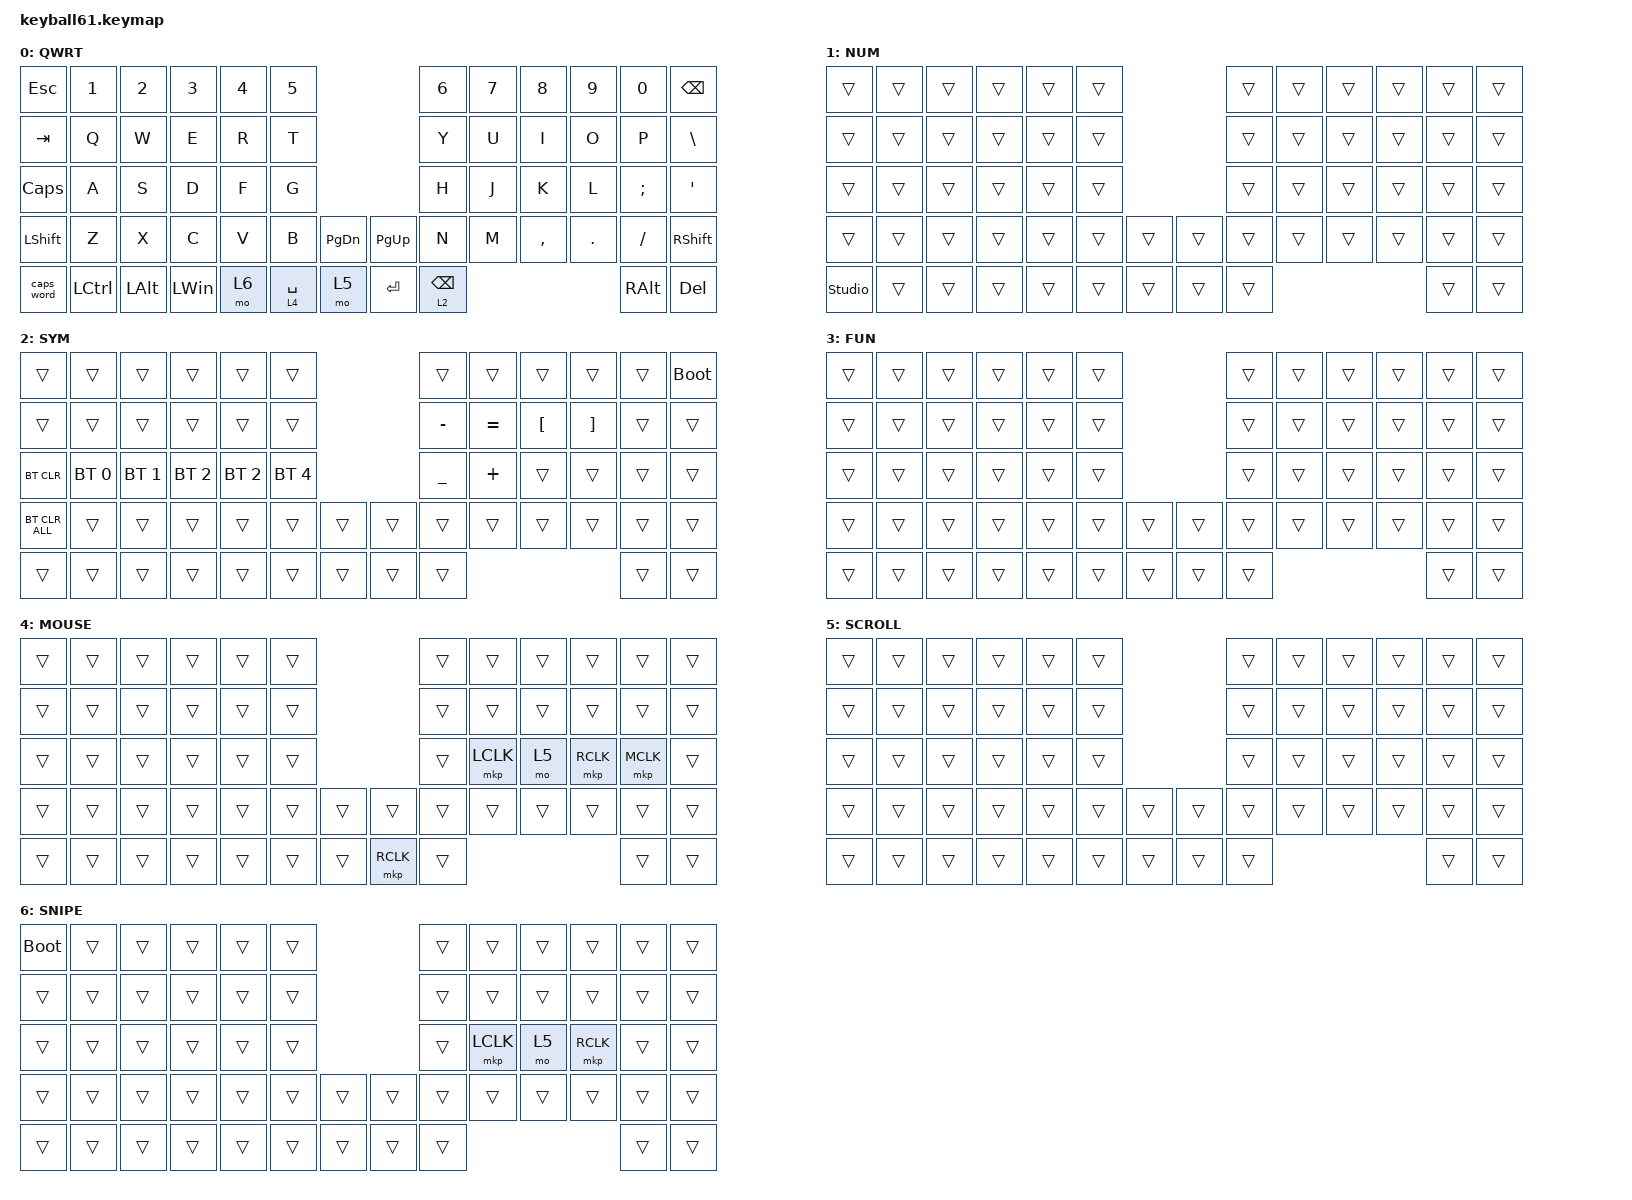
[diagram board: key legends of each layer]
#define DEFAULT 0
#define SYM     1
#define FUN     2
#define MOUSE   3
#define SCROLL  4
#define SNIPE   5

#include <behaviors/mouse_keys.dtsi>
#include <dt-bindings/zmk/mouse.h>
#include <behaviors.dtsi>
#include <dt-bindings/zmk/bt.h>
#include <dt-bindings/zmk/keys.h>


&nice_view_spi { cs-gpios = <&pro_micro 1 GPIO_ACTIVE_HIGH>; };

&lt {
    tapping-term-ms = <240>;
    flavor = "balanced";
    quick-tap-ms = <150>;
};

&mt {
    tapping-term-ms = <200>;
    flavor = "tap-preferred";
    quick-tap-ms = <150>;
};

/ {
    combos {
        compatible = "zmk,combos";

        right-reset {
            bindings = <&bootloader>;
            key-positions = <10 11>;
        };

        left-reset {
            bindings = <&bootloader>;
            key-positions = <0 1>;
        };

        tb-snipe6 {
            bindings = <&mo 6>;
            key-positions = <32 33>;
        };
    };

    keymap {
        compatible = "zmk,keymap";

        default_layer {
            label = "QWRT";
            bindings = <
&kp ESC         &kp N1     &kp N2        &kp N3        &kp N4  &kp N5                                   &kp N6           &kp N7  &kp N8     &kp N9   &kp N0         &kp BSPC
&kp TAB         &kp Q      &kp W         &kp E         &kp R   &kp T                                    &kp Y            &kp U   &kp I      &kp O    &kp P          &kp BACKSLASH
&kp CAPS        &kp A      &kp S         &kp D         &kp F   &kp G                                    &kp H            &kp J   &kp K      &kp L    &kp SEMI       &kp SQT
&kp LEFT_SHIFT  &kp Z      &kp X         &kp C         &kp V   &kp B        &kp PAGE_DOWN  &kp PAGE_UP  &kp N            &kp M   &kp COMMA  &kp DOT  &kp FSLH       &kp RIGHT_SHIFT
&caps_word      &kp LCTRL  &kp LEFT_ALT  &kp LEFT_WIN  &mo 6   &lt 4 SPACE  &mo 5          &kp ENTER    &lt 2 BACKSPACE                              &kp RIGHT_ALT  &kp DELETE
            >;
        };

        number_layer {
            bindings = <
&trans  &trans  &trans  &trans  &trans  &trans                  &trans  &trans  &trans  &trans  &trans  &trans
&trans  &trans  &trans  &trans  &trans  &trans                  &trans  &trans  &trans  &trans  &trans  &trans
&trans  &trans  &trans  &trans  &trans  &trans                  &trans  &trans  &trans  &trans  &trans  &trans
&trans  &trans  &trans  &trans  &trans  &trans  &trans  &trans  &trans  &trans  &trans  &trans  &trans  &trans
&studio_unlock  &trans  &trans  &trans  &trans  &trans  &trans  &trans  &trans                          &trans  &trans
            >;

            label = "NUM";
        };

        symbol_layer {
            label = "SYM";
            bindings = <
&trans          &trans        &trans        &trans        &trans        &trans                        &trans          &trans     &trans            &trans             &trans  &bootloader
&trans          &trans        &trans        &trans        &trans        &trans                        &kp MINUS       &kp EQUAL  &kp LEFT_BRACKET  &kp RIGHT_BRACKET  &trans  &trans
&bt BT_CLR      &bt BT_SEL 0  &bt BT_SEL 1  &bt BT_SEL 2  &bt BT_SEL 2  &bt BT_SEL 4                  &kp UNDERSCORE  &kp PLUS   &trans            &trans             &trans  &trans
&bt BT_CLR_ALL  &trans        &trans        &trans        &trans        &trans        &trans  &trans  &trans          &trans     &trans            &trans             &trans  &trans
&trans          &trans        &trans        &trans        &trans        &trans        &trans  &trans  &trans                                                          &trans  &trans
            >;
        };

        function_layer {
            label = "FUN";
            bindings = <
&trans  &trans  &trans  &trans  &trans  &trans                  &trans  &trans  &trans  &trans  &trans  &trans
&trans  &trans  &trans  &trans  &trans  &trans                  &trans  &trans  &trans  &trans  &trans  &trans
&trans  &trans  &trans  &trans  &trans  &trans                  &trans  &trans  &trans  &trans  &trans  &trans
&trans  &trans  &trans  &trans  &trans  &trans  &trans  &trans  &trans  &trans  &trans  &trans  &trans  &trans
&trans  &trans  &trans  &trans  &trans  &trans  &trans  &trans  &trans                          &trans  &trans
            >;
        };

        mouse_layer {
            label = "MOUSE";
            bindings = <
&trans  &trans  &trans  &trans  &trans  &trans                     &trans  &trans     &trans  &trans     &trans     &trans
&trans  &trans  &trans  &trans  &trans  &trans                     &trans  &trans     &trans  &trans     &trans     &trans
&trans  &trans  &trans  &trans  &trans  &trans                     &trans  &mkp LCLK  &mo 5   &mkp RCLK  &mkp MCLK  &trans
&trans  &trans  &trans  &trans  &trans  &trans  &trans  &trans     &trans  &trans     &trans  &trans     &trans     &trans
&trans  &trans  &trans  &trans  &trans  &trans  &trans  &mkp RCLK  &trans                                &trans     &trans
            >;
        };

        scroll_layer {
            label = "SCROLL";
            bindings = <
&trans  &trans  &trans  &trans  &trans  &trans                  &trans  &trans  &trans  &trans  &trans  &trans
&trans  &trans  &trans  &trans  &trans  &trans                  &trans  &trans  &trans  &trans  &trans  &trans
&trans  &trans  &trans  &trans  &trans  &trans                  &trans  &trans  &trans  &trans  &trans  &trans
&trans  &trans  &trans  &trans  &trans  &trans  &trans  &trans  &trans  &trans  &trans  &trans  &trans  &trans
&trans  &trans  &trans  &trans  &trans  &trans  &trans  &trans  &trans                          &trans  &trans
            >;
        };

        snipe_layer {
            label = "SNIPE";
            bindings = <
&bootloader  &trans  &trans  &trans  &trans  &trans                  &trans  &trans     &trans  &trans     &trans  &trans
&trans       &trans  &trans  &trans  &trans  &trans                  &trans  &trans     &trans  &trans     &trans  &trans
&trans       &trans  &trans  &trans  &trans  &trans                  &trans  &mkp LCLK  &mo 5   &mkp RCLK  &trans  &trans
&trans       &trans  &trans  &trans  &trans  &trans  &trans  &trans  &trans  &trans     &trans  &trans     &trans  &trans
&trans       &trans  &trans  &trans  &trans  &trans  &trans  &trans  &trans                                &trans  &trans
            >;
        };
    };
};
